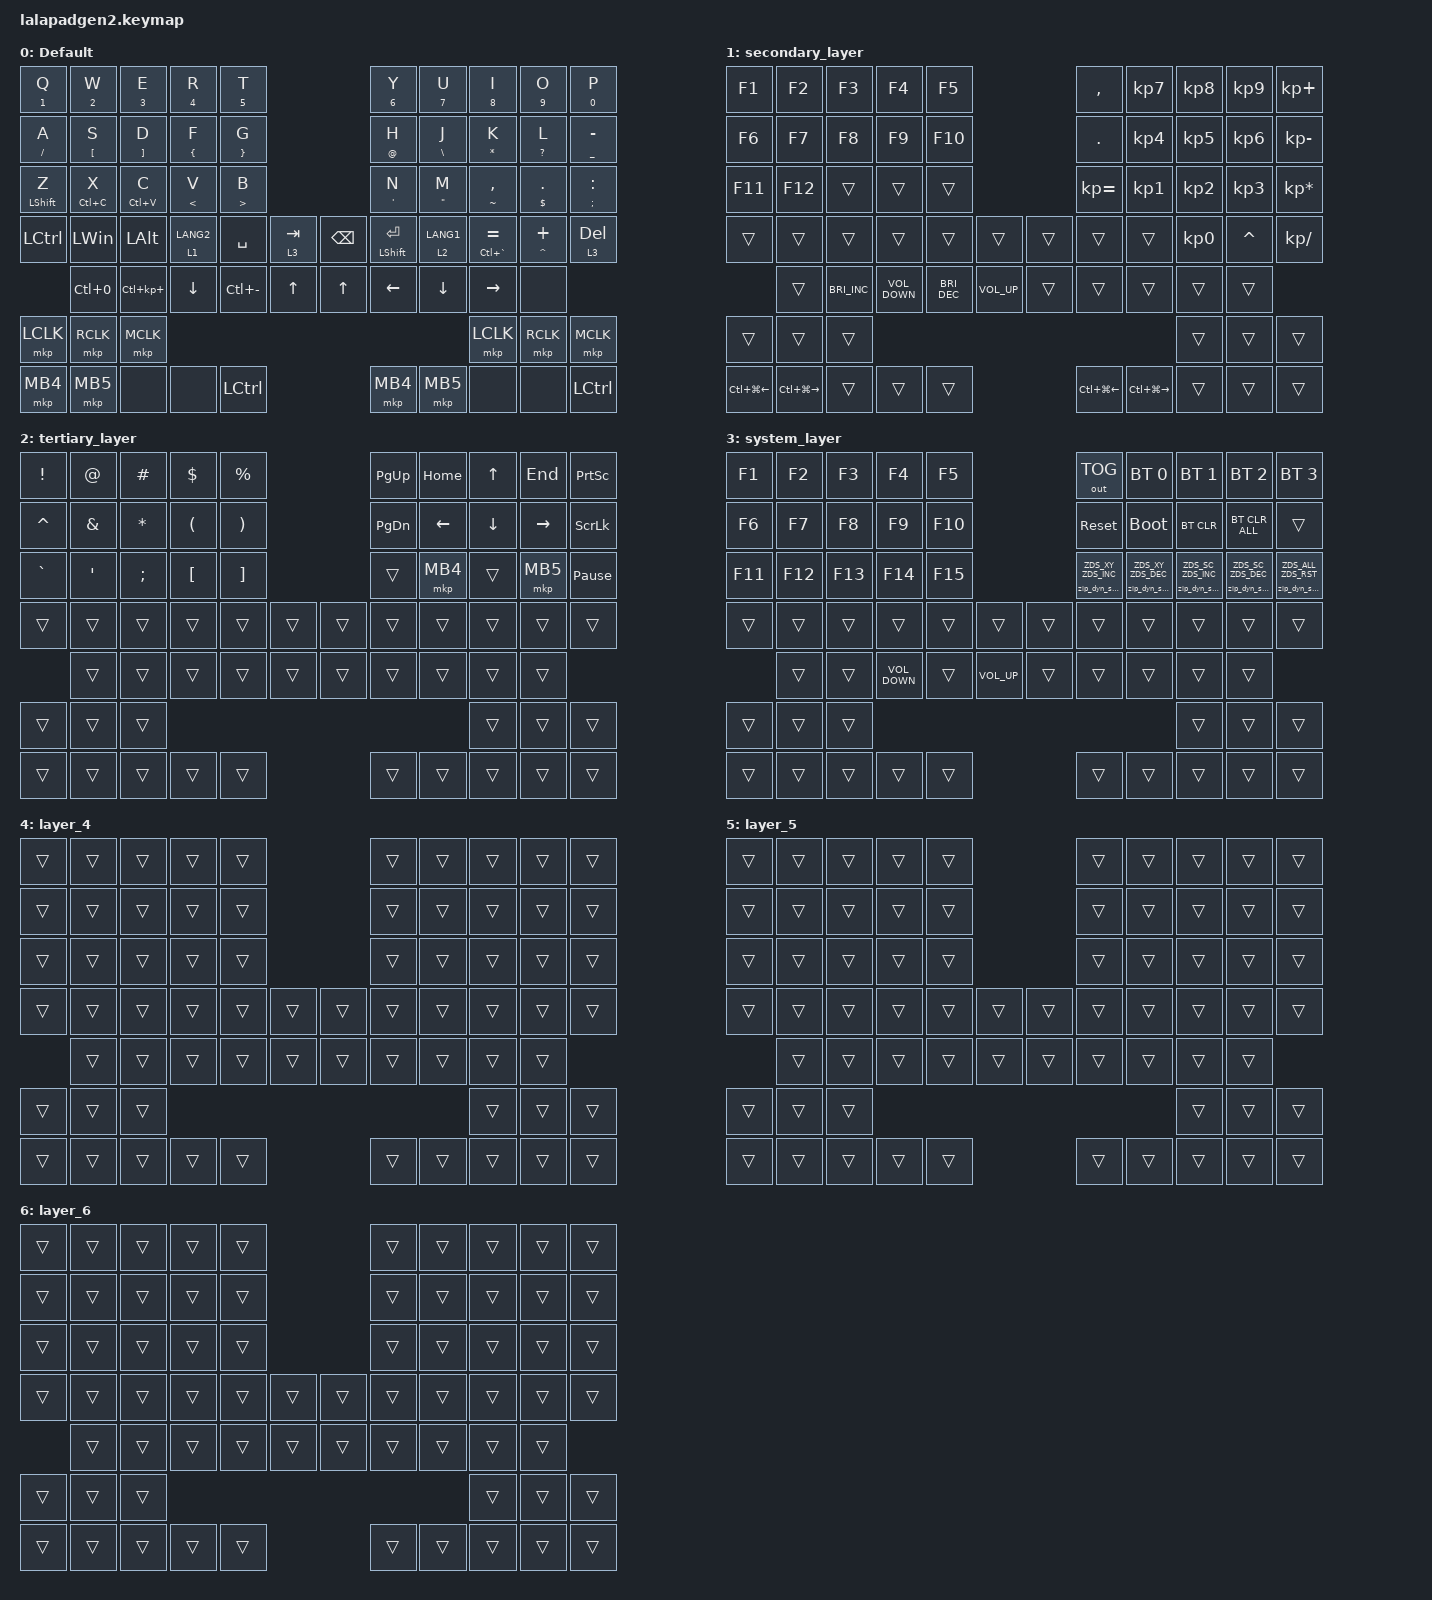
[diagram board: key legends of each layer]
#include <input/processors.dtsi>
#include <dt-bindings/zmk/zip_dynamic_scale.h>
#include <behaviors.dtsi>
#include <dt-bindings/zmk/bt.h>
#include <dt-bindings/zmk/keys.h>
#include <dt-bindings/zmk/outputs.h>
#include <dt-bindings/zmk/pointing.h>

#define DEFAULT_LAYER   0
#define SECONDARY_LAYER 1
#define TERTIARY_LAYER  2
#define SYSTEM_LAYER    3

&mt {
    quick-tap-ms = <200>;
    flavor = "tap-preferred";
};

&lt { quick-tap-ms = <200>; };

/ {
    behaviors {
        zip_dyn_scale: zip_dyn_scale {
            compatible = "zmk,behavior-zip-dynamic-scale";
            #binding-cells = <2>;
        };

        zip_dyn_scale_set: zip_dyn_scale_set {
            compatible = "zmk,behavior-zip-dynamic-scale-set";
            #binding-cells = <2>;
        };

        mt2: mod_tap2 {
            compatible = "zmk,behavior-hold-tap";
            #binding-cells = <2>;
            flavor = "tap-preferred";
            tapping-term-ms = <200>;
            quick-tap-ms = <200>;
            require-prior-idle-ms = <125>;
            bindings = <&kp>, <&kp>;
        };

        tap_dance_layer_1and2: tap_dance_layer_1and2 {
            compatible = "zmk,behavior-tap-dance";
            label = "td_mo12";
            #binding-cells = <0>;
            bindings = <&mo 1>, <&mo 2>;
        };
    };

    combos {
        compatible = "zmk,combos";

        CONBO_ESC {
            bindings = <&kp ESCAPE>;
            key-positions = <0 1>;
        };

        COMBO_TAB {
            bindings = <&kp TAB>;
            key-positions = <10 11>;
        };
    };

    keymap {
        compatible = "zmk,keymap";

        DEFAULT_LAYER {
            display-name = "Default";
            bindings = <
&mt NUMBER_1 Q     &mt NUMBER_2 W      &mt NUMBER_3 E       &mt NUMBER_4 R    &mt N5 T                                      &mt NUMBER_6 Y        &mt N7 U             &mt N8 I             &mt N9 O           &mt N0 P
&mt SLASH A        &mt LEFT_BRACKET S  &mt RIGHT_BRACKET D  &mt LEFT_BRACE F  &mt RIGHT_BRACE G                             &mt AT_SIGN H         &mt BACKSLASH J      &mt ASTERISK K       &mt QUESTION L     &mt UNDERSCORE MINUS
&mt2 LEFT_SHIFT Z  &mt LC(C) X         &mt LC(V) C          &mt LESS_THAN V   &mt GREATER_THAN B                            &mt SQT N             &mt DOUBLE_QUOTES M  &mt TILDE COMMA      &mt DOLLAR PERIOD  &mt SEMI COLON
&kp LCTRL          &kp LWIN            &kp LEFT_ALT         &lt 1 LANG2       &kp SPACE           &lt 3 TAB  &kp BACKSPACE  &mt LEFT_SHIFT ENTER  &lt 2 LANG1          &mt LC(GRAVE) EQUAL  &mt CARET PLUS     &lt 3 DELETE
                   &kp LC(NUMBER_0)    &kp LC(KP_PLUS)      &kp DOWN          &kp LC(MINUS)       &kp UP     &kp UP         &kp LEFT              &kp DOWN             &kp RIGHT            &none
&mkp LCLK          &mkp RCLK           &mkp MCLK                                                                                                                       &mkp LCLK            &mkp RCLK          &mkp MCLK
&mkp MB4           &mkp MB5            &none                &none             &kp LCTRL                                     &mkp MB4              &mkp MB5             &none                &none              &kp LCTRL
            >;
        };

        SECONDARY_LAYER {
            display-name = "secondary_layer";
            bindings = <
&kp F1            &kp F2             &kp F3                &kp F4             &kp F5                                         &kp COMMA         &kp KP_NUMBER_7    &kp KP_NUMBER_8  &kp KP_NUMBER_9  &kp KP_PLUS
&kp F6            &kp F7             &kp F8                &kp F9             &kp F10                                        &kp DOT           &kp KP_NUMBER_4    &kp KP_NUMBER_5  &kp KP_NUMBER_6  &kp KP_MINUS
&kp F11           &kp F12            &trans                &trans             &trans                                         &kp KP_EQUAL      &kp KP_NUMBER_1    &kp KP_NUMBER_2  &kp KP_NUMBER_3  &kp KP_ASTERISK
&trans            &trans             &trans                &trans             &trans                &trans           &trans  &trans            &trans             &kp KP_NUMBER_0  &kp CARET        &kp KP_DIVIDE
                  &trans             &kp C_BRIGHTNESS_INC  &kp C_VOLUME_DOWN  &kp C_BRIGHTNESS_DEC  &kp C_VOLUME_UP  &trans  &trans            &trans             &trans           &trans
&trans            &trans             &trans                                                                                                                       &trans           &trans           &trans
&kp LC(LG(LEFT))  &kp LC(LG(RIGHT))  &trans                &trans             &trans                                         &kp LC(LG(LEFT))  &kp LC(LG(RIGHT))  &trans           &trans           &trans
            >;
        };

        TERTIARY_LAYER {
            display-name = "tertiary_layer";
            bindings = <
&kp EXCLAMATION  &kp AT_SIGN    &kp HASH      &kp DOLLAR            &kp PERCENT                            &kp PAGE_UP    &kp HOME  &kp UP_ARROW    &kp END    &kp PRINTSCREEN
&kp CARET        &kp AMPERSAND  &kp ASTERISK  &kp LEFT_PARENTHESIS  &kp RIGHT_PARENTHESIS                  &kp PAGE_DOWN  &kp LEFT  &kp DOWN_ARROW  &kp RIGHT  &kp SCROLLLOCK
&kp GRAVE        &kp SQT        &kp SEMI      &kp LEFT_BRACKET      &kp RIGHT_BRACKET                      &trans         &mkp MB4  &trans          &mkp MB5   &kp PAUSE_BREAK
&trans           &trans         &trans        &trans                &trans                 &trans  &trans  &trans         &trans    &trans          &trans     &trans
                 &trans         &trans        &trans                &trans                 &trans  &trans  &trans         &trans    &trans          &trans
&trans           &trans         &trans                                                                                              &trans          &trans     &trans
&trans           &trans         &trans        &trans                &trans                                 &trans         &trans    &trans          &trans     &trans
            >;
        };

        SYSTEM_LAYER {
            display-name = "system_layer";
            bindings = <
&kp F1   &kp F2   &kp F3   &kp F4             &kp F5                            &out OUT_TOG                   &bt BT_SEL 0                   &bt BT_SEL 1                   &bt BT_SEL 2                   &bt BT_SEL 3
&kp F6   &kp F7   &kp F8   &kp F9             &kp F10                           &sys_reset                     &bootloader                    &bt BT_CLR                     &bt BT_CLR_ALL                 &trans
&kp F11  &kp F12  &kp F13  &kp F14            &kp F15                           &zip_dyn_scale ZDS_XY ZDS_INC  &zip_dyn_scale ZDS_XY ZDS_DEC  &zip_dyn_scale ZDS_SC ZDS_INC  &zip_dyn_scale ZDS_SC ZDS_DEC  &zip_dyn_scale ZDS_ALL ZDS_RST
&trans   &trans   &trans   &trans             &trans   &trans           &trans  &trans                         &trans                         &trans                         &trans                         &trans
         &trans   &trans   &kp C_VOLUME_DOWN  &trans   &kp C_VOLUME_UP  &trans  &trans                         &trans                         &trans                         &trans
&trans   &trans   &trans                                                                                                                      &trans                         &trans                         &trans
&trans   &trans   &trans   &trans             &trans                            &trans                         &trans                         &trans                         &trans                         &trans
            >;
        };

        layer_4 {
            bindings = <
&trans  &trans  &trans  &trans  &trans                  &trans  &trans  &trans  &trans  &trans
&trans  &trans  &trans  &trans  &trans                  &trans  &trans  &trans  &trans  &trans
&trans  &trans  &trans  &trans  &trans                  &trans  &trans  &trans  &trans  &trans
&trans  &trans  &trans  &trans  &trans  &trans  &trans  &trans  &trans  &trans  &trans  &trans
        &trans  &trans  &trans  &trans  &trans  &trans  &trans  &trans  &trans  &trans
&trans  &trans  &trans                                                  &trans  &trans  &trans
&trans  &trans  &trans  &trans  &trans                  &trans  &trans  &trans  &trans  &trans
            >;
        };

        layer_5 {
            bindings = <
&trans  &trans  &trans  &trans  &trans                  &trans  &trans  &trans  &trans  &trans
&trans  &trans  &trans  &trans  &trans                  &trans  &trans  &trans  &trans  &trans
&trans  &trans  &trans  &trans  &trans                  &trans  &trans  &trans  &trans  &trans
&trans  &trans  &trans  &trans  &trans  &trans  &trans  &trans  &trans  &trans  &trans  &trans
        &trans  &trans  &trans  &trans  &trans  &trans  &trans  &trans  &trans  &trans
&trans  &trans  &trans                                                  &trans  &trans  &trans
&trans  &trans  &trans  &trans  &trans                  &trans  &trans  &trans  &trans  &trans
            >;
        };

        layer_6 {
            bindings = <
&trans  &trans  &trans  &trans  &trans                  &trans  &trans  &trans  &trans  &trans
&trans  &trans  &trans  &trans  &trans                  &trans  &trans  &trans  &trans  &trans
&trans  &trans  &trans  &trans  &trans                  &trans  &trans  &trans  &trans  &trans
&trans  &trans  &trans  &trans  &trans  &trans  &trans  &trans  &trans  &trans  &trans  &trans
        &trans  &trans  &trans  &trans  &trans  &trans  &trans  &trans  &trans  &trans
&trans  &trans  &trans                                                  &trans  &trans  &trans
&trans  &trans  &trans  &trans  &trans                  &trans  &trans  &trans  &trans  &trans
            >;
        };
    };

    conditional_layers {
        compatible = "zmk,conditional-layers";

        Cond_Syslayer {
            if-layers = <1 2>;
            then-layer = <3>;
        };
    };
};
